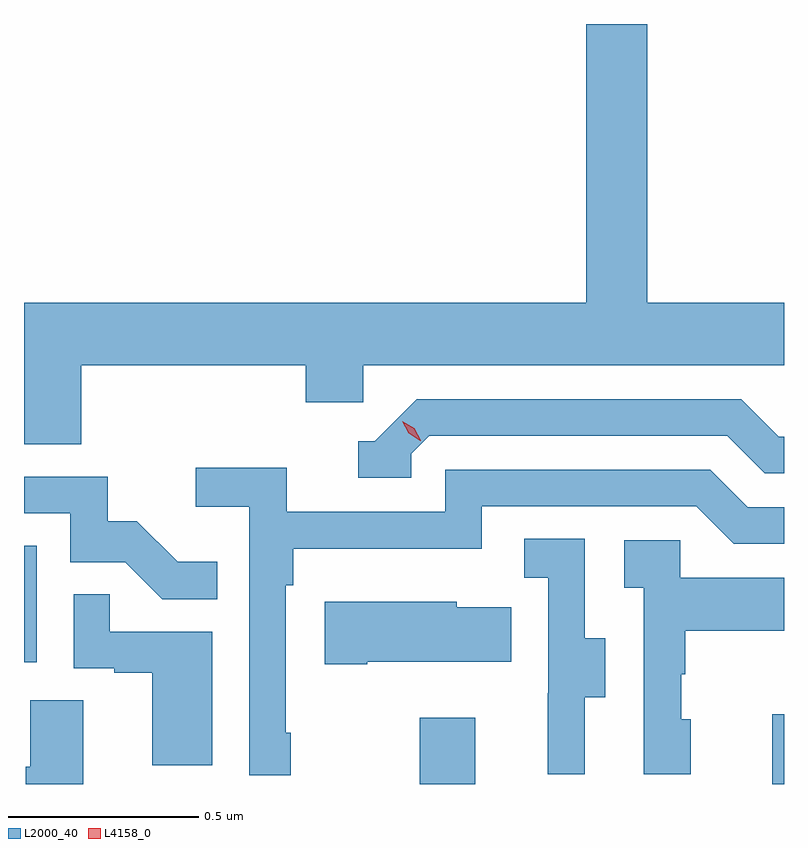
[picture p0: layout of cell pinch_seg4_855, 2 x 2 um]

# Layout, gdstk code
import gdstk
lib = gdstk.Library(unit=1e-6, precision=1e-09)
def R(c, l, rs):  # rectangles x0, y0, x1, y1
    for r in rs: c.add(gdstk.rectangle(r[:2], r[2:], *l))
def P(c, l, *ps):  # polygons
    for p in ps: c.add(gdstk.Polygon(p, *l))
L2000_40 = (2000, 40)
L4158_0 = (4158, 0)

pinch_seg4_855 = lib.new_cell('pinch_seg4_855')
R(pinch_seg4_855, L2000_40, [(888.214,801.046,888.361,801.22), (889.142,801.046,889.173,801.229), (887.173,801.366,887.206,801.673)])
P(pinch_seg4_855, L2000_40, [(887.324,802.148),(887.915,802.148),(887.915,802.05),(888.066,802.05),(888.066,802.148),(889.173,802.148),(889.173,802.312),(888.813,802.312),(888.813,803.046),(888.653,803.046),(888.653,802.312),(887.173,802.312),(887.173,801.94),(887.324,801.94)],
  [(888.192,801.915),(888.24,801.963),(889.023,801.963),(889.122,801.864),(889.173,801.864),(889.173,801.96),(889.159,801.96),(889.06,802.059),(888.207,802.059),(888.096,801.948),(888.053,801.948),(888.053,801.852),(888.192,801.852)],
  [(887.875,801.181),(887.862,801.181),(887.862,801.569),(887.882,801.569),(887.882,801.665),(888.378,801.665),(888.378,801.777),(888.942,801.777),(889.041,801.678),(889.173,801.678),(889.173,801.774),(889.078,801.774),(888.979,801.873),(888.282,801.873),(888.282,801.762),(887.864,801.762),(887.864,801.878),(887.625,801.878),(887.625,801.776),(887.766,801.776),(887.766,801.069),(887.875,801.069)],
  [(887.681,801.631),(887.577,801.631),(887.47,801.738),(887.394,801.738),(887.394,801.855),(887.173,801.855),(887.173,801.759),(887.295,801.759),(887.295,801.63),(887.439,801.63),(887.537,801.532),(887.681,801.532)],
  [(888.649,801.274),(888.703,801.274),(888.703,801.429),(888.648,801.429),(888.648,801.692),(888.489,801.692),(888.489,801.589),(888.552,801.589),(888.552,801.285),(888.551,801.285),(888.551,801.072),(888.649,801.072)],
  [(888.928,801.216),(888.903,801.216),(888.903,801.335),(888.913,801.335),(888.913,801.449),(889.173,801.449),(889.173,801.589),(888.9,801.589),(888.9,801.687),(888.753,801.687),(888.753,801.563),(888.804,801.563),(888.804,801.072),(888.928,801.072)],
  [(887.668,801.447),(887.399,801.447),(887.399,801.545),(887.304,801.545),(887.304,801.351),(887.411,801.351),(887.411,801.339),(887.51,801.339),(887.51,801.096),(887.668,801.096)],
  [(888.076,801.368),(888.455,801.368),(888.455,801.511),(888.312,801.511),(888.312,801.526),(887.964,801.526),(887.964,801.361),(888.076,801.361)],
  [(887.329,801.266),(887.189,801.266),(887.189,801.092),(887.177,801.092),(887.177,801.046),(887.329,801.046)])
P(pinch_seg4_855, L4158_0, [(888.216,801.949),(888.186,801.969),(888.169,802.001),(888.169,802.001),(888.169,802.001),(888.2,801.982),(888.217,801.95),(888.217,801.949)])

lib.write_gds('pinch_seg4_855.gds')
